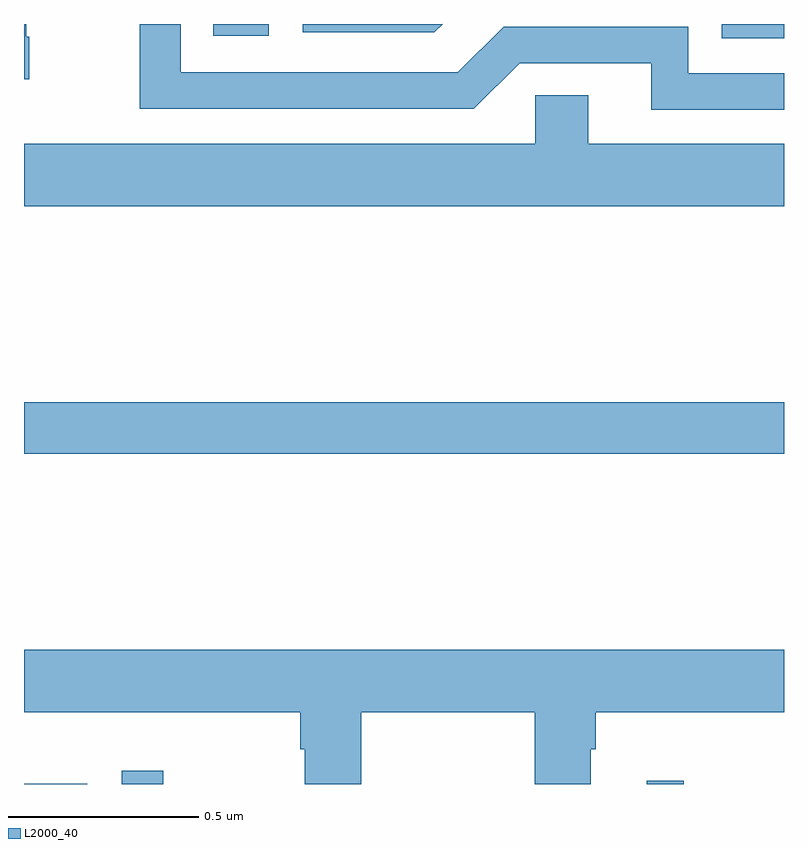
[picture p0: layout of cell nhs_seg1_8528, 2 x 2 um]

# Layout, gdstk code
import gdstk
lib = gdstk.Library(unit=1e-6, precision=1e-09)
def R(c, l, rs):  # rectangles x0, y0, x1, y1
    for r in rs: c.add(gdstk.rectangle(r[:2], r[2:], *l))
def P(c, l, *ps):  # polygons
    for p in ps: c.add(gdstk.Polygon(p, *l))
L2000_40 = (2000, 40)

nhs_seg1_8528 = lib.new_cell('nhs_seg1_8528')
R(nhs_seg1_8528, L2000_40, [(217,562.199,217.167,562.2), (217.257,562.199,217.366,562.234), (218.639,562.199,218.736,562.207), (217,563.068,219,563.204), (218.836,564.161,219,564.199), (217.498,564.168,217.644,564.199)])
P(nhs_seg1_8528, L2000_40, [(218.102,564.199),(217.734,564.199),(217.734,564.177),(218.08,564.177)],
  [(217.014,564.166),(217.006,564.166),(217.006,564.199),(217,564.199),(217,564.054),(217.014,564.054)],
  [(219,564.069),(218.748,564.069),(218.748,564.192),(218.262,564.192),(218.142,564.072),(217.413,564.072),(217.413,564.199),(217.305,564.199),(217.305,563.976),(218.184,563.976),(218.304,564.096),(218.651,564.096),(218.651,563.973),(219,563.973)],
  [(219,563.884),(218.485,563.884),(218.485,564.011),(218.346,564.011),(218.346,563.884),(217,563.884),(217,563.72),(219,563.72)],
  [(217.887,562.388),(218.344,562.388),(218.344,562.199),(218.491,562.199),(218.491,562.29),(218.504,562.29),(218.504,562.388),(219,562.388),(219,562.552),(217,562.552),(217,562.388),(217.727,562.388),(217.727,562.29),(217.739,562.29),(217.739,562.199),(217.887,562.199)])

lib.write_gds('nhs_seg1_8528.gds')
